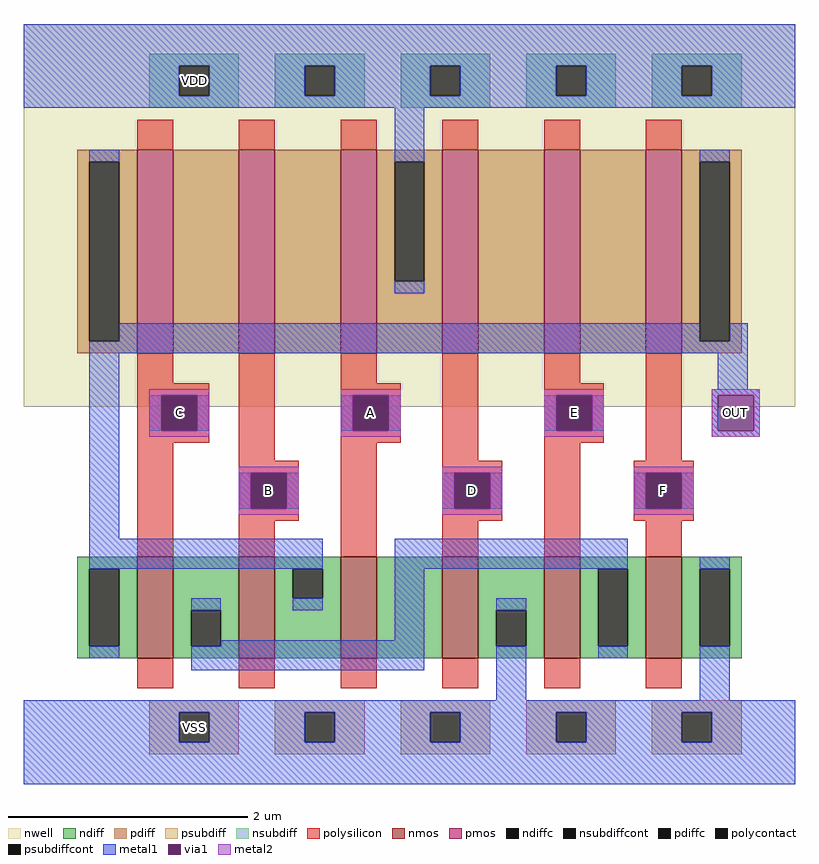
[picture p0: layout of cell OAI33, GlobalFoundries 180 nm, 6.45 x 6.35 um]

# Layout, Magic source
magic
tech gf180mcuD
<< nwell >>
rect -62 60 67 124
<< nmos >>
rect -43 18 -37 35
rect -26 18 -20 35
rect -9 18 -3 35
rect 8 18 14 35
rect 25 18 31 35
rect 42 18 48 35
<< pmos >>
rect -43 69 -37 103
rect -26 69 -20 103
rect -9 69 -3 103
rect 8 69 14 103
rect 25 69 31 103
rect 42 69 48 103
<< ndiff >>
rect -53 33 -43 35
rect -53 20 -51 33
rect -46 20 -43 33
rect -53 18 -43 20
rect -37 26 -26 35
rect -37 20 -34 26
rect -29 20 -26 26
rect -37 18 -26 20
rect -20 33 -9 35
rect -20 28 -17 33
rect -12 28 -9 33
rect -20 18 -9 28
rect -3 18 8 35
rect 14 26 25 35
rect 14 20 17 26
rect 22 20 25 26
rect 14 18 25 20
rect 31 33 42 35
rect 31 20 34 33
rect 39 20 42 33
rect 31 18 42 20
rect 48 33 58 35
rect 48 20 51 33
rect 56 20 58 33
rect 48 18 58 20
<< pdiff >>
rect -53 101 -43 103
rect -53 71 -51 101
rect -46 71 -43 101
rect -53 69 -43 71
rect -37 69 -26 103
rect -20 69 -9 103
rect -3 101 8 103
rect -3 81 0 101
rect 5 81 8 101
rect -3 69 8 81
rect 14 69 25 103
rect 31 69 42 103
rect 48 101 58 103
rect 48 71 51 101
rect 56 71 58 101
rect 48 69 58 71
<< ndiffc >>
rect -51 20 -46 33
rect -34 20 -29 26
rect -17 28 -12 33
rect 17 20 22 26
rect 34 20 39 33
rect 51 20 56 33
<< pdiffc >>
rect -51 71 -46 101
rect 0 81 5 101
rect 51 71 56 101
<< psubdiff >>
rect -41 9 -26 11
rect -41 4 -36 9
rect -31 4 -26 9
rect -41 2 -26 4
rect -20 9 -5 11
rect -20 4 -15 9
rect -10 4 -5 9
rect -20 2 -5 4
rect 1 9 16 11
rect 1 4 6 9
rect 11 4 16 9
rect 1 2 16 4
rect 22 9 37 11
rect 22 4 27 9
rect 32 4 37 9
rect 22 2 37 4
rect 43 9 58 11
rect 43 4 48 9
rect 53 4 58 9
rect 43 2 58 4
<< nsubdiff >>
rect -41 117 -26 119
rect -41 112 -36 117
rect -31 112 -26 117
rect -41 110 -26 112
rect -20 117 -5 119
rect -20 112 -15 117
rect -10 112 -5 117
rect -20 110 -5 112
rect 1 117 16 119
rect 1 112 6 117
rect 11 112 16 117
rect 1 110 16 112
rect 22 117 37 119
rect 22 112 27 117
rect 32 112 37 117
rect 22 110 37 112
rect 43 117 58 119
rect 43 112 48 117
rect 53 112 58 117
rect 43 110 58 112
<< psubdiffcont >>
rect -36 4 -31 9
rect -15 4 -10 9
rect 6 4 11 9
rect 27 4 32 9
rect 48 4 53 9
<< nsubdiffcont >>
rect -36 112 -31 117
rect -15 112 -10 117
rect 6 112 11 117
rect 27 112 32 117
rect 48 112 53 117
<< polysilicon >>
rect -43 103 -37 108
rect -26 103 -20 108
rect -9 103 -3 108
rect 8 103 14 108
rect 25 103 31 108
rect 42 103 48 108
rect -43 64 -37 69
rect -43 62 -31 64
rect -43 56 -39 62
rect -33 56 -31 62
rect -43 54 -31 56
rect -43 35 -37 54
rect -26 51 -20 69
rect -9 64 -3 69
rect -9 62 1 64
rect -9 56 -7 62
rect -1 56 1 62
rect -9 54 1 56
rect -26 49 -16 51
rect -26 43 -24 49
rect -18 43 -16 49
rect -26 41 -16 43
rect -26 35 -20 41
rect -9 35 -3 54
rect 8 51 14 69
rect 25 64 31 69
rect 25 62 35 64
rect 25 56 27 62
rect 33 56 35 62
rect 25 54 35 56
rect 8 49 18 51
rect 8 43 10 49
rect 16 43 18 49
rect 8 41 18 43
rect 8 35 14 41
rect 25 35 31 54
rect 42 51 48 69
rect 40 49 50 51
rect 40 43 42 49
rect 48 43 50 49
rect 40 41 50 43
rect 42 35 48 41
rect -43 13 -37 18
rect -26 13 -20 18
rect -9 13 -3 18
rect 8 13 14 18
rect 25 13 31 18
rect 42 13 48 18
<< polycontact >>
rect -39 56 -33 62
rect -7 56 -1 62
rect -24 43 -18 49
rect 27 56 33 62
rect 10 43 16 49
rect 42 43 48 49
<< metal1 >>
rect -62 117 67 124
rect -62 112 -36 117
rect -31 112 -15 117
rect -10 112 6 117
rect 11 112 27 117
rect 32 112 48 117
rect 53 112 67 117
rect -62 110 67 112
rect -51 101 -46 103
rect 0 101 5 110
rect 0 79 5 81
rect 51 101 56 103
rect -46 71 51 74
rect 56 71 59 74
rect -51 69 59 71
rect -51 38 -46 69
rect 54 63 59 69
rect 53 62 61 63
rect -41 56 -39 62
rect -33 56 -31 62
rect -9 56 -7 62
rect -1 56 1 62
rect 25 56 27 62
rect 33 56 35 62
rect 53 56 54 62
rect 60 56 61 62
rect 53 55 61 56
rect -26 43 -24 49
rect -18 43 -16 49
rect 8 43 10 49
rect 16 43 18 49
rect 40 43 42 49
rect 48 43 50 49
rect -51 33 -12 38
rect -51 18 -46 20
rect -34 26 -29 28
rect -17 26 -12 28
rect 0 33 39 38
rect 0 21 5 33
rect -29 20 5 21
rect -34 16 5 20
rect 17 26 22 28
rect 17 11 22 20
rect 34 18 39 20
rect 51 33 56 35
rect 51 11 56 20
rect -62 9 67 11
rect -62 4 -36 9
rect -31 4 -15 9
rect -10 4 6 9
rect 11 4 27 9
rect 32 4 48 9
rect 53 4 67 9
rect -62 -3 67 4
<< via1 >>
rect -39 56 -33 62
rect -7 56 -1 62
rect 27 56 33 62
rect 54 56 60 62
rect -24 43 -18 49
rect 10 43 16 49
rect 42 43 48 49
<< metal2 >>
rect -41 62 -31 63
rect -41 56 -39 62
rect -33 56 -31 62
rect -41 55 -31 56
rect -9 62 1 63
rect -9 56 -7 62
rect -1 56 1 62
rect -9 55 1 56
rect 25 62 35 63
rect 25 56 27 62
rect 33 56 35 62
rect 25 55 35 56
rect 53 62 61 63
rect 53 56 54 62
rect 60 56 61 62
rect 53 55 61 56
rect -26 49 -16 50
rect -26 43 -24 49
rect -18 43 -16 49
rect -26 42 -16 43
rect 8 49 18 50
rect 8 43 10 49
rect 16 43 18 49
rect 8 42 18 43
rect 40 49 50 50
rect 40 43 42 49
rect 48 43 50 49
rect 40 42 50 43
<< labels >>
rlabel metal1 -36 112 -31 117 1 VDD
rlabel metal2 54 56 60 62 1 OUT
rlabel metal2 -39 56 -33 62 1 C
rlabel metal2 -24 43 -18 49 1 B
rlabel metal2 -7 56 -1 62 1 A
rlabel metal2 10 43 16 49 1 D
rlabel metal2 27 56 33 62 1 E
rlabel metal2 42 43 48 49 1 F
rlabel metal1 -36 4 -31 9 1 VSS
<< end >>
